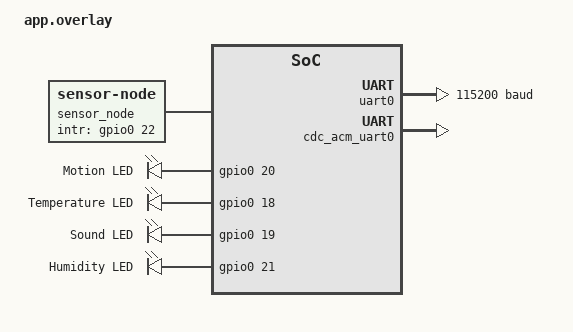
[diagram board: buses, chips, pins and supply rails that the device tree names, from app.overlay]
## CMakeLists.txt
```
cmake_minimum_required(VERSION 3.20.0)

list(APPEND DTS_ROOT ${CMAKE_CURRENT_SOURCE_DIR})
set(KCONFIG_ROOT ${CMAKE_CURRENT_SOURCE_DIR}/Kconfig)

find_package(Zephyr REQUIRED HINTS $ENV{ZEPHYR_BASE})
project(base_node)

target_sources(app PRIVATE
    src/main.c
    drivers/sensor_node/sensor_node.c
)

target_include_directories(app PRIVATE
    drivers/sensor_node
)
```

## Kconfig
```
source "Kconfig.zephyr"

# Uses the absolute path to your driver's Kconfig
source "$(APPLICATION_SOURCE_DIR)/drivers/sensor_node/Kconfig"
```

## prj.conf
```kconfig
# Home Security Base Node – prj.conf

CONFIG_PRINTK=y
CONFIG_LOG=y
CONFIG_LOG_DEFAULT_LEVEL=3

CONFIG_GPIO=y
CONFIG_SENSOR=y
CONFIG_SENSOR_NODE=y

# USB CDC Serial Console
CONFIG_SERIAL=y
CONFIG_CONSOLE=y
CONFIG_UART_CONSOLE=y
CONFIG_STDOUT_CONSOLE=y
CONFIG_RTT_CONSOLE=n

CONFIG_USB_DEVICE_STACK=y
CONFIG_USB_CDC_ACM=y
CONFIG_UART_LINE_CTRL=y
```

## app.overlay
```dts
/*
 * Devicetree overlay for the Home Security Base Node.
 *
 * Board: Raspberry Pi Pico 2  (or Maker Pi Pico)
 *
 * Adjust the pin numbers below to match your actual wiring:
 *   - uart0:        receives data frames from the Sensor Node (TX/RX)
 *                   also used to send configuration commands back
 *   - intr-gpios:   GPIO 22, wired to INTR_PIN (GPIO 6) on the Sensor Node
 *   - motion_led:   GPIO 20
 *   - temp_led:     GPIO 18
 *   - sound_led:    GPIO 19
 *   - humidity_led: GPIO 21
 *
 * Build with:
 *   west build -b rpi_pico2/rp2350a/m33 -- -DDTC_OVERLAY_FILE=app.overlay
 */
/ {
    sensor_node: sensor_node {
        compatible = "zephyr,sensor-node";
        uart-dev = <&uart0>;
        intr-gpios = <&gpio0 22 GPIO_ACTIVE_HIGH>;
        status = "okay";
    };

    aliases {
        motion-led   = &motion_led;
        temp-led     = &temp_led;
        sound-led    = &sound_led;
        humidity-led = &humidity_led;
    };

/*Changed to multiple leds for easier debugging and detection*/
    leds {
        compatible = "gpio-leds";

        motion_led: motion_led {
            gpios = <&gpio0 20 GPIO_ACTIVE_HIGH>;
            label = "Motion LED";
        };

        temp_led: temp_led {
            gpios = <&gpio0 18 GPIO_ACTIVE_HIGH>;
            label = "Temperature LED";
        };

        sound_led: sound_led {
            gpios = <&gpio0 19 GPIO_ACTIVE_HIGH>;
            label = "Sound LED";
        };

        humidity_led: humidity_led {
            gpios = <&gpio0 21 GPIO_ACTIVE_HIGH>;
            label = "Humidity LED";
        };
    };
};

&uart0 {
    status = "okay";
    current-speed = <115200>;
    pinctrl-0 = <&uart0_default>;
    pinctrl-names = "default";
};

&zephyr_udc0 {
    cdc_acm_uart0: cdc_acm_uart0 {
        compatible = "zephyr,cdc-acm-uart";
    };
};

/ {
    chosen {
        zephyr,console = &cdc_acm_uart0;
        zephyr,shell-uart = &cdc_acm_uart0;
    };
};
```

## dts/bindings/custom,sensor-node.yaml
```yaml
# Copyright (c) 2025 Group 8
# SPDX-License-Identifier: Apache-2.0

description: |
  Custom sensor driver that receives sensor data from a remote Sensor Node
  over UART. The Sensor Node sends a 10-byte frame containing temperature,
  gas, sound, distance, and alarm status data.

compatible: "custom,sensor-node"

include: sensor-device.yaml

properties:
  uart-dev:
    type: phandle
    required: true
    description: |
      Reference to the UART device used to communicate with the Sensor Node.
```

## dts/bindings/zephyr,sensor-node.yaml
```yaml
description: "Zephyr sensor node device"

compatible: "zephyr,sensor-node"

include: base.yaml

properties:
  uart-dev:
    type: phandle
    required: true
    description: "UART device used by the sensor node driver"

  intr-gpios:
    type: phandle-array
    required: false
    description: >
      GPIO pin connected to the sensor node interrupt line (INTR_PIN on the
      sensor node Pico). The driver configures this as an input and arms a
      rising-edge interrupt when sensor_trigger_set() is called.
```

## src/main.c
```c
/*
 * Home Security Base Node – main application.
 *
 * Periodically fetches sensor data from the custom sensor-node driver,
 * prints the values to the serial monitor, and drives four different alert LEDs
 * depending on which alarm flags are set.
 *
 * Interrupt demo:
 *   On startup we register a SENSOR_TRIG_THRESHOLD callback that fires
 *   immediately when the sensor node asserts its interrupt GPIO line.
 *   We also send a configuration command to tighten the distance threshold
 *   to 30 cm so the interrupt is easier to trigger during testing.
 *
 * Alarm LEDs:
 *   - motion_led:   GPIO 20
 *   - temp_led:     GPIO 18
 *   - sound_led:    GPIO 19
 *   - humidity_led: GPIO 21
 */

#include <zephyr/kernel.h>
#include <zephyr/device.h>
#include <zephyr/devicetree.h>
#include <zephyr/drivers/gpio.h>
#include <zephyr/drivers/sensor.h>
#include <zephyr/logging/log.h>
#include <zephyr/usb/usb_device.h>  // 
#include <zephyr/drivers/uart.h>    // 

#include "../drivers/sensor_node/sensor_node.h"

LOG_MODULE_REGISTER(main, LOG_LEVEL_INF);

// Devicetree handles

#define SENSOR_NODE DT_NODELABEL(sensor_node)

#define MOTION_LED_NODE   DT_ALIAS(motion_led)
#define TEMP_LED_NODE     DT_ALIAS(temp_led)
#define SOUND_LED_NODE    DT_ALIAS(sound_led)
#define HUMIDITY_LED_NODE DT_ALIAS(humidity_led)

static const struct gpio_dt_spec motion_led =
    GPIO_DT_SPEC_GET(MOTION_LED_NODE, gpios);

static const struct gpio_dt_spec temp_led =
    GPIO_DT_SPEC_GET(TEMP_LED_NODE, gpios);

static const struct gpio_dt_spec sound_led =
    GPIO_DT_SPEC_GET(SOUND_LED_NODE, gpios);

static const struct gpio_dt_spec humidity_led =
    GPIO_DT_SPEC_GET(HUMIDITY_LED_NODE, gpios);

/*
 * Interrupt callback - called from GPIO ISR context when the sensor node
 * pulls its INTR_PIN high (i.e. any alarm condition becomes active).
 * Keep this short; heavy work should be deferred to a thread if needed.
 */
static void alarm_trigger_cb(const struct device *dev,
                             const struct sensor_trigger *trig)
{
    ARG_UNUSED(dev);
    ARG_UNUSED(trig);
    printk("[INTERRUPT] Sensor node alarm line asserted!\n");
}

// Main

int main(void)
{   
    
    const struct device *usb_dev = DEVICE_DT_GET(DT_NODELABEL(cdc_acm_uart0));
    if (!device_is_ready(usb_dev)) {
        return -ENODEV;
    }
    usb_enable(NULL);
    k_sleep(K_SECONDS(1)); 

    k_sleep(K_SECONDS(2));

    printk(" Home Security Base Node Started\n");

    const struct device *sensor_dev = DEVICE_DT_GET(SENSOR_NODE);

    if (!device_is_ready(sensor_dev))
    {
        printk("Sensor node not ready\n");
        return -ENODEV;
    }

    gpio_pin_configure_dt(&motion_led, GPIO_OUTPUT_INACTIVE);
    gpio_pin_configure_dt(&temp_led, GPIO_OUTPUT_INACTIVE);
    gpio_pin_configure_dt(&sound_led, GPIO_OUTPUT_INACTIVE);
    gpio_pin_configure_dt(&humidity_led, GPIO_OUTPUT_INACTIVE);

    /*
     * Register an interrupt trigger so we get an immediate callback the
     * moment the sensor node asserts its alarm line over GPIO, without
     * waiting for the next UART frame poll cycle.
     */
    struct sensor_trigger alarm_trig = {
        .type = SENSOR_TRIG_THRESHOLD,
        .chan = SENSOR_CHAN_ALARM_STATUS,
    };
    int ret = sensor_trigger_set(sensor_dev, &alarm_trig, alarm_trigger_cb);
    if (ret < 0) {
        printk("WARNING: Could not register alarm trigger (%d)\n", ret);
    } else {
        printk("[DEMO] Interrupt trigger registered on GPIO\n");
    }

    /*
     * Example of threshold configuration: lower the proximity alert distance
     * to 30 cm by sending a command frame to the sensor node over UART.
     * The sensor node applies the new value immediately on next loop iteration.
     */
    struct sensor_value dist_thresh = { .val1 = 30, .val2 = 0 };
    sensor_attr_set(sensor_dev,
                    SENSOR_CHAN_DISTANCE,
                    (enum sensor_attribute)SENSOR_ATTR_DIST_THRESH,
                    &dist_thresh);
    printk("[DEMO] Distance alert threshold set to 30 cm\n");

    while (1)
    {
        ret = sensor_sample_fetch(sensor_dev);

        if (ret == 0)
        {
            struct sensor_value temp;
            struct sensor_value humidity;
            struct sensor_value sound;
            struct sensor_value dist;
            struct sensor_value alarm;

            sensor_channel_get(sensor_dev,
                               SENSOR_CHAN_AMBIENT_TEMP,
                               &temp);

            sensor_channel_get(sensor_dev,
                               (enum sensor_channel)SENSOR_CHAN_HUMIDITY,
                               &humidity);

            sensor_channel_get(sensor_dev,
                               (enum sensor_channel)SENSOR_CHAN_SOUND,
                               &sound);

            sensor_channel_get(sensor_dev,
                               (enum sensor_channel)SENSOR_CHAN_DISTANCE,
                               &dist);

            sensor_channel_get(sensor_dev,
                               (enum sensor_channel)SENSOR_CHAN_ALARM_STATUS,
                               &alarm);

            uint8_t alarm_flags = (uint8_t)alarm.val1;

            printk("[BASE] Temp: %d.%02d C | ",
                   temp.val1, temp.val2 / 10000);

            printk("Humidity: %d.%02d %% | ",
                   humidity.val1, humidity.val2 / 10000);

            printk("Sound: %d | ", sound.val1);

            printk("Distance: %d cm | ", dist.val1);

            printk("Alarm: 0x%02x\n", alarm_flags);

            // LED logic

            gpio_pin_set_dt(&motion_led,
                            (alarm_flags & ALARM_MOTION_BIT) ? 1 : 0);

            gpio_pin_set_dt(&temp_led,
                            (alarm_flags & ALARM_TEMP_BIT) ? 1 : 0);

            gpio_pin_set_dt(&sound_led,
                            (alarm_flags & ALARM_SOUND_BIT) ? 1 : 0);

            gpio_pin_set_dt(&humidity_led,
                            (alarm_flags & ALARM_HUMIDITY_BIT) ? 1 : 0);

            if (alarm_flags)
            {
                printk("ALARM ACTIVE\n");
            }
        }
        else if (ret == -EAGAIN)
        {
            printk("WARNING: No data from sensor node (timeout)\n");
        }
        else
        {
            printk("ERROR: sensor_sample_fetch failed (%d)\n", ret);
        }

        k_msleep(300);
    }
}
```
